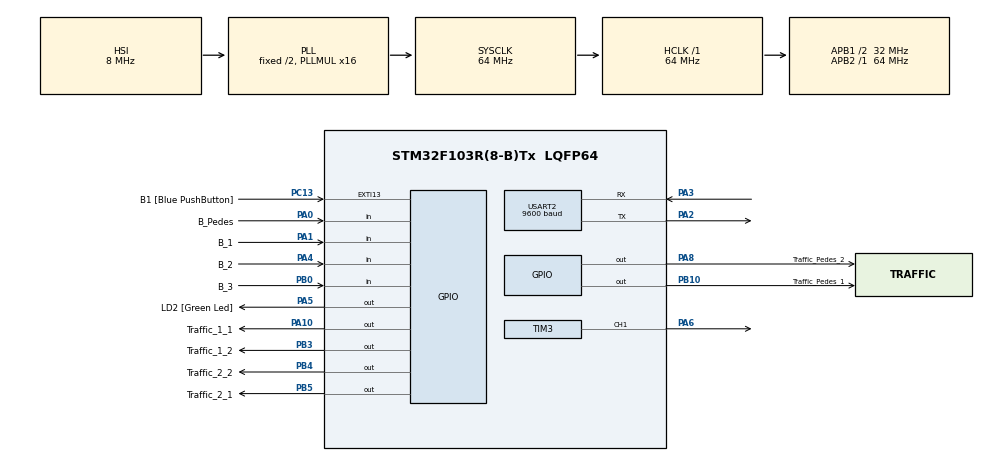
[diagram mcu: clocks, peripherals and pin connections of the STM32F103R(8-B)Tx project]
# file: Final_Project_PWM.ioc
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Mcu.Family=STM32F1
Mcu.Name=STM32F103R(8-B)Tx
Mcu.Package=LQFP64
NVIC.EXTI15_10_IRQn=true\:0\:0\:false\:false\:true\:true\:true
NVIC.PriorityGroup=NVIC_PRIORITYGROUP_4
NVIC.TIM2_IRQn=true\:0\:0\:false\:false\:true\:true\:true
NVIC.TIM3_IRQn=true\:0\:0\:false\:false\:true\:true\:true
PA0-WKUP.GPIO_Label=B_Pedes
PA0-WKUP.GPIO_PuPd=GPIO_PULLUP
PA0-WKUP.Signal=GPIO_Input
PA1.GPIO_Label=B_1
PA1.GPIO_PuPd=GPIO_PULLUP
PA1.Signal=GPIO_Input
PA10.GPIO_Label=Traffic_1_1
PA10.Signal=GPIO_Output
PA13.GPIO_Label=TMS
PA13.Mode=Serial_Wire
PA13.Signal=SYS_JTMS-SWDIO
PA14.GPIO_Label=TCK
PA14.Mode=Serial_Wire
PA14.Signal=SYS_JTCK-SWCLK
PA2.GPIO_Mode=GPIO_MODE_AF_PP
PA2.GPIO_PuPd=GPIO_NOPULL
PA2.GPIO_Speed=GPIO_SPEED_FREQ_HIGH
PA2.Mode=Asynchronous
PA2.Signal=USART2_TX
PA3.GPIO_Mode=GPIO_MODE_INPUT
PA3.GPIO_PuPd=GPIO_NOPULL
PA3.GPIO_Speed=GPIO_SPEED_FREQ_LOW
PA3.Mode=Asynchronous
PA3.Signal=USART2_RX
PA4.GPIO_Label=B_2
PA4.GPIO_PuPd=GPIO_PULLUP
PA4.Signal=GPIO_Input
PA5.GPIO_Label=LD2 [Green Led]
PA5.GPIO_ModeDefaultOutputPP=GPIO_MODE_OUTPUT_PP
PA5.GPIO_PuPd=GPIO_NOPULL
PA5.GPIO_Speed=GPIO_SPEED_FREQ_LOW
PA5.Signal=GPIO_Output
PA6.Signal=S_TIM3_CH1
PA8.GPIO_Label=Traffic_Pedes_2
PA8.Signal=GPIO_Output
PB0.GPIO_Label=B_3
PB0.GPIO_PuPd=GPIO_PULLUP
PB0.Signal=GPIO_Input
PB10.GPIO_Label=Traffic_Pedes_1
PB10.Signal=GPIO_Output
PB3.GPIO_Label=Traffic_1_2
PB3.Signal=GPIO_Output
PB4.GPIO_Label=Traffic_2_2
PB4.Signal=GPIO_Output
PB5.GPIO_Label=Traffic_2_1
PB5.Signal=GPIO_Output
PC13-TAMPER-RTC.GPIO_Label=B1 [Blue PushButton]
PC13-TAMPER-RTC.GPIO_PuPd=GPIO_NOPULL
PC13-TAMPER-RTC.Signal=GPXTI13
PC14-OSC32_IN.Mode=LSE-External-Oscillator
PC14-OSC32_IN.Signal=RCC_OSC32_IN
PC15-OSC32_OUT.Mode=LSE-External-Oscillator
PC15-OSC32_OUT.Signal=RCC_OSC32_OUT
PD0-OSC_IN.Mode=HSE-External-Clock-Source
PD0-OSC_IN.Signal=RCC_OSC_IN
PD1-OSC_OUT.Mode=HSE-External-Clock-Source
PD1-OSC_OUT.Signal=RCC_OSC_OUT
ProjectManager.HeapSize=0x200
ProjectManager.StackSize=0x400
ProjectManager.TargetToolchain=STM32CubeIDE
RCC.AHBFreq_Value=64000000
RCC.APB1CLKDivider=RCC_HCLK_DIV2
RCC.APB1Freq_Value=32000000
RCC.APB1TimFreq_Value=64000000
RCC.APB2Freq_Value=64000000
RCC.APB2TimFreq_Value=64000000
RCC.HCLKFreq_Value=64000000
RCC.PLLMUL=RCC_PLL_MUL16
RCC.RTCClockSelection=RCC_RTCCLKSOURCE_LSE
RCC.SYSCLKFreq_VALUE=64000000
RCC.SYSCLKSource=RCC_SYSCLKSOURCE_PLLCLK
RCC.USBFreq_Value=64000000
SH.S_TIM3_CH1.0=TIM3_CH1,PWM Generation1 CH1
TIM2.Period=19
TIM2.Prescaler=31999
TIM3.Channel-PWM\ Generation1\ CH1=TIM_CHANNEL_1
TIM3.Period=999
TIM3.Prescaler=63
USART2.BaudRate=9600
USART2.VirtualMode=VM_ASYNC
VP_TIM2_VS_ClockSourceINT.Mode=Internal
VP_TIM3_VS_ClockSourceINT.Mode=Internal
board=NUCLEO-F103RB

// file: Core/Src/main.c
/* USER CODE BEGIN Header */
/**
  ******************************************************************************
  * @file           : main.c
  * @brief          : Main program body
  ******************************************************************************
  * @attention
  *
  * <h2><center>&copy; Copyright (c) 2022 STMicroelectronics.
  * All rights reserved.</center></h2>
  *
  * This software component is licensed by ST under BSD 3-Clause license,
  * the "License"; You may not use this file except in compliance with the
  * License. You may obtain a copy of the License at:
  *                        opensource.org/licenses/BSD-3-Clause
  *
  ******************************************************************************
  */
/* USER CODE END Header */
#include "main.h"

/* USER CODE BEGIN Includes */
#include <stdio.h>
#include "scheduler.h"
#include "sche_task.h"
#include "global.h"
#include "input_processing.h"
#include "software_timer.h"
#include "input_reading.h"
#include "traffic_light.h"
#include "displayUart.h"

/* USER CODE END Includes */

TIM_HandleTypeDef htim2;
TIM_HandleTypeDef htim3;

UART_HandleTypeDef huart2;

void SystemClock_Config(void);
static void MX_GPIO_Init(void);
static void MX_USART2_UART_Init(void);
static void MX_TIM2_Init(void);
static void MX_TIM3_Init(void);

/* USER CODE BEGIN 0 */
void SCH_Go_To_Sleep() {
	HAL_SuspendTick();
	//HAL_GPIO_WritePin(LED_SLEEP_GPIO_Port, LED_SLEEP_Pin, 0); // Just to indicate sleep mode is active
	HAL_PWR_EnterSLEEPMode(PWR_MAINREGULATOR_ON, PWR_SLEEPENTRY_WFI);
	HAL_ResumeTick();
}
/* USER CODE END 0 */

int main(void)
{

  /* MCU Configuration--------------------------------------------------------*/

  /* Reset of all peripherals, Initializes the Flash interface and the Systick. */
  HAL_Init();

  /* Configure the system clock */
  SystemClock_Config();

  /* Initialize all configured peripherals */
  MX_GPIO_Init();
  MX_USART2_UART_Init();
  MX_TIM2_Init();
  MX_TIM3_Init();
  /* USER CODE BEGIN 2 */
  HAL_TIM_PWM_Start(&htim3, TIM_CHANNEL_1);
  HAL_TIM_Base_Start_IT(&htim2);
  HAL_TIM_Base_Start_IT(&htim3);

  /* USER CODE END 2 */

  /* Infinite loop */
  /* USER CODE BEGIN WHILE */
  SCH_Init();
  SCH_Add_Task(button_reading, 30, 10);
  SCH_Add_Task(fsm_simple_button_run, 30, 10);
  SCH_Add_Task(traffic_processing, 50, 10);
  SCH_Add_Task(pedestrian_scramble, 70, 10);

  find_new_min_task();

  setTimer1(500);
  setTimer2(1000);
  setTimer3(100);
  setTimer5(200);
  while (1)
  {

//	  SCH_Dispatch_Tasks();
//	  // turn on LED for indicate when not in sleep mode
//	  // SCH go to sleep, wait for any interrupt.
//	  SCH_Go_To_Sleep();
//	  turn of LED for indicate while MCU is sleeping.
    /* USER CODE END WHILE */

    /* USER CODE BEGIN 3 */
//	  if (timer3_flag == 1) {
//		updateDisplay();
//		setTimer3(200);
//	  }
//	  HAL_GPIO_TogglePin(GPIOA, GPIO_PIN_5);
//	  fsm_simple_button_run();
//	  traffic_processing();
//	  pedestrian_scramble();
	 //HAL_GPIO_TogglePin(GPIOA, GPIO_PIN_5);
	  SCH_Dispatch_Tasks();
	  // turn on LED for indicate when not in sleep mode
	  // SCH go to sleep, wait for any interrupt.
	  SCH_Go_To_Sleep();

  }
  /* USER CODE END 3 */
}

void SystemClock_Config(void)
{
  RCC_OscInitTypeDef RCC_OscInitStruct = {0};
  RCC_ClkInitTypeDef RCC_ClkInitStruct = {0};

  /** Initializes the RCC Oscillators according to the specified parameters
  * in the RCC_OscInitTypeDef structure.
  */
  RCC_OscInitStruct.OscillatorType = RCC_OSCILLATORTYPE_HSI;
  RCC_OscInitStruct.HSIState = RCC_HSI_ON;
  RCC_OscInitStruct.HSICalibrationValue = RCC_HSICALIBRATION_DEFAULT;
  RCC_OscInitStruct.PLL.PLLState = RCC_PLL_ON;
  RCC_OscInitStruct.PLL.PLLSource = RCC_PLLSOURCE_HSI_DIV2;
  RCC_OscInitStruct.PLL.PLLMUL = RCC_PLL_MUL16;
  if (HAL_RCC_OscConfig(&RCC_OscInitStruct) != HAL_OK)
  {
    Error_Handler();
  }
  /** Initializes the CPU, AHB and APB buses clocks
  */
  RCC_ClkInitStruct.ClockType = RCC_CLOCKTYPE_HCLK|RCC_CLOCKTYPE_SYSCLK
                              |RCC_CLOCKTYPE_PCLK1|RCC_CLOCKTYPE_PCLK2;
  RCC_ClkInitStruct.SYSCLKSource = RCC_SYSCLKSOURCE_PLLCLK;
  RCC_ClkInitStruct.AHBCLKDivider = RCC_SYSCLK_DIV1;
  RCC_ClkInitStruct.APB1CLKDivider = RCC_HCLK_DIV2;
  RCC_ClkInitStruct.APB2CLKDivider = RCC_HCLK_DIV1;

  if (HAL_RCC_ClockConfig(&RCC_ClkInitStruct, FLASH_LATENCY_2) != HAL_OK)
  {
    Error_Handler();
  }
}

static void MX_TIM2_Init(void)
{

  TIM_ClockConfigTypeDef sClockSourceConfig = {0};
  TIM_MasterConfigTypeDef sMasterConfig = {0};

  htim2.Instance = TIM2;
  htim2.Init.Prescaler = 31999;
  htim2.Init.CounterMode = TIM_COUNTERMODE_UP;
  htim2.Init.Period = 19;
  htim2.Init.ClockDivision = TIM_CLOCKDIVISION_DIV1;
  htim2.Init.AutoReloadPreload = TIM_AUTORELOAD_PRELOAD_DISABLE;
  if (HAL_TIM_Base_Init(&htim2) != HAL_OK)
  {
    Error_Handler();
  }
  sClockSourceConfig.ClockSource = TIM_CLOCKSOURCE_INTERNAL;
  if (HAL_TIM_ConfigClockSource(&htim2, &sClockSourceConfig) != HAL_OK)
  {
    Error_Handler();
  }
  sMasterConfig.MasterOutputTrigger = TIM_TRGO_RESET;
  sMasterConfig.MasterSlaveMode = TIM_MASTERSLAVEMODE_DISABLE;
  if (HAL_TIMEx_MasterConfigSynchronization(&htim2, &sMasterConfig) != HAL_OK)
  {
    Error_Handler();
  }

}

static void MX_TIM3_Init(void)
{

  TIM_ClockConfigTypeDef sClockSourceConfig = {0};
  TIM_MasterConfigTypeDef sMasterConfig = {0};
  TIM_OC_InitTypeDef sConfigOC = {0};

  htim3.Instance = TIM3;
  htim3.Init.Prescaler = 63;
  htim3.Init.CounterMode = TIM_COUNTERMODE_UP;
  htim3.Init.Period = 999;
  htim3.Init.ClockDivision = TIM_CLOCKDIVISION_DIV1;
  htim3.Init.AutoReloadPreload = TIM_AUTORELOAD_PRELOAD_DISABLE;
  if (HAL_TIM_Base_Init(&htim3) != HAL_OK)
  {
    Error_Handler();
  }
  sClockSourceConfig.ClockSource = TIM_CLOCKSOURCE_INTERNAL;
  if (HAL_TIM_ConfigClockSource(&htim3, &sClockSourceConfig) != HAL_OK)
  {
    Error_Handler();
  }
  if (HAL_TIM_PWM_Init(&htim3) != HAL_OK)
  {
    Error_Handler();
  }
  sMasterConfig.MasterOutputTrigger = TIM_TRGO_RESET;
  sMasterConfig.MasterSlaveMode = TIM_MASTERSLAVEMODE_DISABLE;
  if (HAL_TIMEx_MasterConfigSynchronization(&htim3, &sMasterConfig) != HAL_OK)
  {
    Error_Handler();
  }
  sConfigOC.OCMode = TIM_OCMODE_PWM1;
  sConfigOC.Pulse = 0;
  sConfigOC.OCPolarity = TIM_OCPOLARITY_HIGH;
  sConfigOC.OCFastMode = TIM_OCFAST_DISABLE;
  if (HAL_TIM_PWM_ConfigChannel(&htim3, &sConfigOC, TIM_CHANNEL_1) != HAL_OK)
  {
    Error_Handler();
  }
  HAL_TIM_MspPostInit(&htim3);

}

static void MX_USART2_UART_Init(void)
{

  huart2.Instance = USART2;
  huart2.Init.BaudRate = 9600;
  huart2.Init.WordLength = UART_WORDLENGTH_8B;
  huart2.Init.StopBits = UART_STOPBITS_1;
  huart2.Init.Parity = UART_PARITY_NONE;
  huart2.Init.Mode = UART_MODE_TX_RX;
  huart2.Init.HwFlowCtl = UART_HWCONTROL_NONE;
  huart2.Init.OverSampling = UART_OVERSAMPLING_16;
  if (HAL_UART_Init(&huart2) != HAL_OK)
  {
    Error_Handler();
  }

}

static void MX_GPIO_Init(void)
{
  GPIO_InitTypeDef GPIO_InitStruct = {0};

  /* GPIO Ports Clock Enable */
  __HAL_RCC_GPIOC_CLK_ENABLE();
  __HAL_RCC_GPIOD_CLK_ENABLE();
  __HAL_RCC_GPIOA_CLK_ENABLE();
  __HAL_RCC_GPIOB_CLK_ENABLE();

  /*Configure GPIO pin Output Level */
  HAL_GPIO_WritePin(GPIOA, LD2_Pin|Traffic_Pedes_2_Pin|Traffic_1_1_Pin, GPIO_PIN_RESET);

  /*Configure GPIO pin Output Level */
  HAL_GPIO_WritePin(GPIOB, Traffic_Pedes_1_Pin|Traffic_1_2_Pin|Traffic_2_2_Pin|Traffic_2_1_Pin, GPIO_PIN_RESET);

  /*Configure GPIO pin : B1_Pin */
  GPIO_InitStruct.Pin = B1_Pin;
  GPIO_InitStruct.Mode = GPIO_MODE_IT_RISING;
  GPIO_InitStruct.Pull = GPIO_NOPULL;
  HAL_GPIO_Init(B1_GPIO_Port, &GPIO_InitStruct);

  /*Configure GPIO pins : B_Pedes_Pin B_1_Pin B_2_Pin */
  GPIO_InitStruct.Pin = B_Pedes_Pin|B_1_Pin|B_2_Pin;
  GPIO_InitStruct.Mode = GPIO_MODE_INPUT;
  GPIO_InitStruct.Pull = GPIO_PULLUP;
  HAL_GPIO_Init(GPIOA, &GPIO_InitStruct);

  /*Configure GPIO pins : LD2_Pin Traffic_Pedes_2_Pin Traffic_1_1_Pin */
  GPIO_InitStruct.Pin = LD2_Pin|Traffic_Pedes_2_Pin|Traffic_1_1_Pin;
  GPIO_InitStruct.Mode = GPIO_MODE_OUTPUT_PP;
  GPIO_InitStruct.Pull = GPIO_NOPULL;
  GPIO_InitStruct.Speed = GPIO_SPEED_FREQ_LOW;
  HAL_GPIO_Init(GPIOA, &GPIO_InitStruct);

  /*Configure GPIO pin : B_3_Pin */
  GPIO_InitStruct.Pin = B_3_Pin;
  GPIO_InitStruct.Mode = GPIO_MODE_INPUT;
  GPIO_InitStruct.Pull = GPIO_PULLUP;
  HAL_GPIO_Init(B_3_GPIO_Port, &GPIO_InitStruct);

  /*Configure GPIO pins : Traffic_Pedes_1_Pin Traffic_1_2_Pin Traffic_2_2_Pin Traffic_2_1_Pin */
  GPIO_InitStruct.Pin = Traffic_Pedes_1_Pin|Traffic_1_2_Pin|Traffic_2_2_Pin|Traffic_2_1_Pin;
  GPIO_InitStruct.Mode = GPIO_MODE_OUTPUT_PP;
  GPIO_InitStruct.Pull = GPIO_NOPULL;
  GPIO_InitStruct.Speed = GPIO_SPEED_FREQ_LOW;
  HAL_GPIO_Init(GPIOB, &GPIO_InitStruct);

  /* EXTI interrupt init*/
  HAL_NVIC_SetPriority(EXTI15_10_IRQn, 0, 0);
  HAL_NVIC_EnableIRQ(EXTI15_10_IRQn);

}

/* USER CODE BEGIN 4 */
int counter = 0;
void HAL_TIM_PeriodElapsedCallback(TIM_HandleTypeDef *htim){
	// timerRun()
	if (htim->Instance == TIM2) {
		//timestamp++; // increase timestamp by 10ms
		SCH_Update();
		button_reading();
		timerRun();

	}

}

void HAL_GPIO_EXTI_Callback(uint16_t GPIO_Pin)
{

}
/* USER CODE END 4 */

void Error_Handler(void)
{
  __disable_irq();
  while (1)
  {
  }
}

/************************ (C) COPYRIGHT STMicroelectronics *****END OF FILE****/
